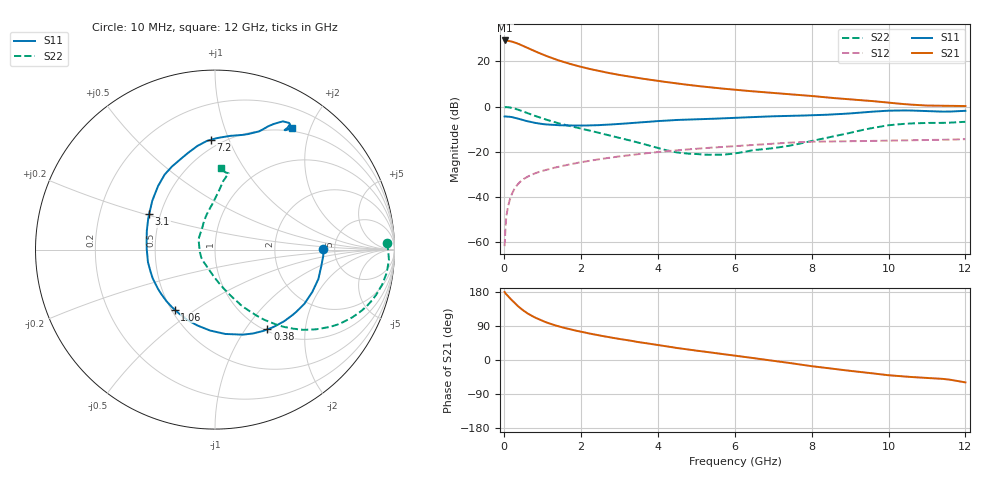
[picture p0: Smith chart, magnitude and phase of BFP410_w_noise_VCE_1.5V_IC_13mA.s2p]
! Infineon Technologies  Discrete & RF Semiconductors
! BFP410
! VCE =  1.5 V,  IC =  13 mA
! Common Emitter S-Parameters:  Nov 2015
# GHz  S  MA  R  50
!  f  S11  S21  S12  S22
! GHz  MAG  ANG  MAG  ANG  MAG  ANG  MAG  ANG
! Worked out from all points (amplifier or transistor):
!   243 points, 10 MHz to 12 GHz, reference 50 ohm
!   highest |S21| = 29.3 dB at 20 MHz (marker M1)
!   |S21| within 3 dB of that: start of sweep to 567 MHz
!   unconditionally stable (mu >= 1): 2.138 GHz to end of sweep
!   at 240 MHz: K = 0.21, MSG = 32.9 dB, |S12| = -37.3 dB
!   at 1.84 GHz: K = 0.93, MSG = 21.8 dB, |S12| = -25.2 dB
!   at 12 GHz: K = 1.03, MAG = 6.3 dB, |S12| = -14.5 dB
!   lowest NFmin = 1.42 dB at 900 MHz
!   S11 on the Smith chart (normalised r, x): 10 MHz: 4.00, +0.03; 380 MHz: 1.03, -1.27; 1.06 GHz: 0.52, -0.41; 3.1 GHz: 0.43, +0.21; 7.2 GHz: 0.44, +0.86; 12 GHz: 0.45, +1.73
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0.01  0.6004 0.2  29.01 179.5  0.0008 120.4  0.9601 2.2
0.02  0.6044 -3.1  29.15 177.4  0.0012 90.8  0.966 -0.8
0.1  0.5988 -15.9  28.69 168.5  0.006 83.9  0.965 -7.8
0.2  0.5825 -31.2  27.5 157.6  0.0115 77.2  0.9325 -15.7
0.3  0.5548 -46.0  25.82 147.4  0.0165 71.9  0.8842 -22.7
0.38  0.5317 -56.7  24.27 140.2  0.02 68.1  0.8393 -27.6
0.5  0.4986 -71.9  21.94 130.5  0.0245 63.7  0.7708 -34.0
0.6  0.4734 -83.1  20.05 123.4  0.0275 60.8  0.7156 -38.4
0.7  0.4516 -93.6  18.37 117.5  0.0304 58.5  0.6656 -42.2
0.9  0.4212 -111.5  15.47 107.3  0.0353 55.4  0.5794 -48.1
1.06  0.4028 -123.9  13.59 100.7  0.0388 53.8  0.522 -51.8
1.4  0.3858 -145.4  10.63 89.2  0.0458 51.6  0.4284 -58.2
1.7  0.38 -160.2  8.882 81.3  0.0519 50.0  0.3701 -62.5
2.02  0.3787 -173.4  7.499 74.1  0.0586 48.4  0.3213 -66.3
2.6  0.393 165.7  5.805 62.5  0.0703 44.8  0.2439 -74.3
3.1  0.4165 151.7  4.852 54.0  0.0802 41.4  0.1921 -82.4
4.1  0.4801 130.2  3.598 37.8  0.0999 33.9  0.1137 -108.5
6.1  0.5654 104.0  2.313 10.2  0.134 17.7  0.094 161.1
7.2  0.6121 92.2  1.94 -4.7  0.1536 7.9  0.1262 128.6
8.2  0.6478 79.3  1.648 -18.8  0.1665 -3.1  0.1868 106.5
10.2  0.8129 60.9  1.173 -41.8  0.1757 -19.1  0.398 82.1
12  0.8024 57.6  1.024 -59.1  0.1888 -33.8  0.458 86.1
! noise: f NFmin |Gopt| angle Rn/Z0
0.45  1.45  0.03  -118  0.16
0.9  1.42  0.02  -123  0.16
1.8  1.53  0.08  -148  0.16
2.4  1.53  0.14  -128  0.21
5.5  2.4  0.38  -109  0.32
10  3.52  0.68  -48  2.04
